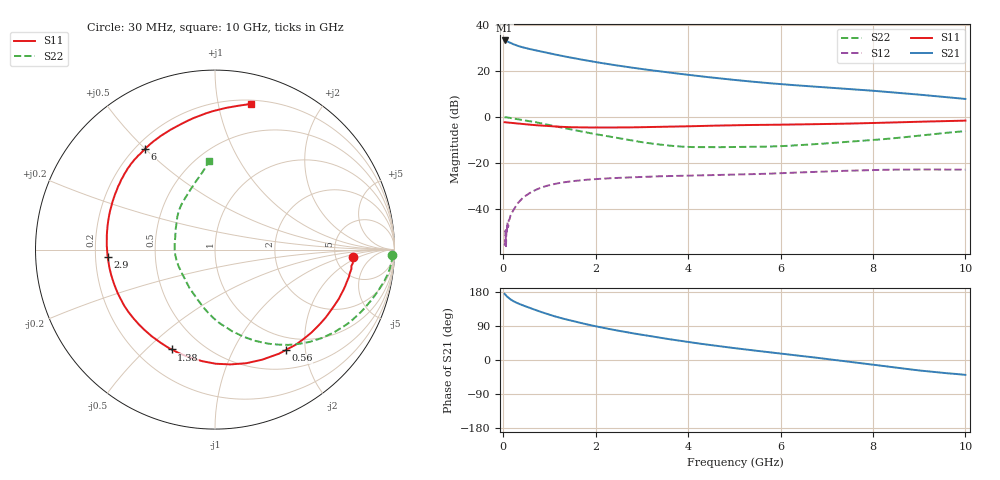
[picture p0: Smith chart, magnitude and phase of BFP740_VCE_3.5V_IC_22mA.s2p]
! Infineon Technologies  Discrete & RF Semiconductors
! BFP740
! VCE =  3.5 V,  IC =  22 mA
! Common Emitter S-Parameters:  Jan 2016
# GHz  S  MA  R  50
!  f  S11  S21  S12  S22
! GHz  MAG  ANG  MAG  ANG  MAG  ANG  MAG  ANG
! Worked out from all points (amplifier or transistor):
!   229 points, 30 MHz to 10 GHz, reference 50 ohm
!   highest |S21| = 33.1 dB at 30 MHz (marker M1)
!   |S21| within 3 dB of that: start of sweep to 429 MHz
!   unconditionally stable (mu >= 1): 6.536 GHz to end of sweep
!   at 280 MHz: K = 0.27, MSG = 34.7 dB, |S12| = -38.4 dB
!   at 1.78 GHz: K = 0.45, MSG = 25.9 dB, |S12| = -27.2 dB
!   at 10 GHz: K = 1.01, MAG = 14.7 dB, |S12| = -22.8 dB
!   S11 on the Smith chart (normalised r, x): 30 MHz: 7.42, -1.58; 560 MHz: 0.78, -1.64; 1.38 GHz: 0.34, -0.60; 2.9 GHz: 0.25, -0.03; 6 GHz: 0.24, +0.50; 10 GHz: 0.23, +1.25
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0.03  0.7717 -3.2  45.44 174.6  0.0018 84.8  0.985 -1.7
0.05  0.7718 -5.6  45.04 172.0  0.0035 96.0  0.9874 -3.6
0.06  0.7653 -6.8  44.62 170.3  0.0016 64.0  0.9815 -4.4
0.11  0.7595 -12.5  42.47 164.4  0.0043 76.9  0.9719 -8.3
0.15  0.7511 -16.9  40.6 160.5  0.007 78.5  0.9553 -11.1
0.2  0.7421 -21.8  38.4 156.6  0.0089 76.5  0.9377 -14.2
0.34  0.7167 -35.3  34.1 148.4  0.0145 72.0  0.8912 -22.0
0.56  0.6846 -54.9  29.84 138.0  0.0222 63.1  0.8191 -33.0
0.76  0.6594 -71.5  26.95 129.2  0.028 56.0  0.7511 -42.3
1  0.636 -89.6  23.95 119.6  0.0336 48.3  0.6702 -52.4
1.2  0.6177 -102.9  21.77 112.3  0.037 43.3  0.6086 -59.7
1.38  0.6068 -113.5  20.04 106.5  0.0394 39.4  0.5601 -65.6
1.7  0.5961 -130.4  17.46 97.0  0.0428 33.9  0.4839 -75.2
2.22  0.5933 -152.9  14.25 83.5  0.0466 27.0  0.3893 -90.0
2.9  0.5997 -176.2  11.31 68.5  0.05 20.8  0.2968 -108.7
3.4  0.6107 169.5  9.708 58.6  0.0521 17.5  0.2531 -125.2
4.3  0.6398 148.8  7.565 42.4  0.055 12.2  0.2228 -157.0
5.1  0.6656 135.7  6.213 29.9  0.0571 9.0  0.2251 -179.4
6  0.6823 124.9  5.161 17.1  0.0606 6.4  0.234 160.8
6.8  0.7016 115.6  4.5 5.7  0.0651 2.5  0.2602 145.6
8.4  0.7616 93.6  3.44 -18.6  0.0724 -8.1  0.3432 116.7
10  0.8353 76.3  2.464 -39.2  0.0727 -17.6  0.4957 93.8
